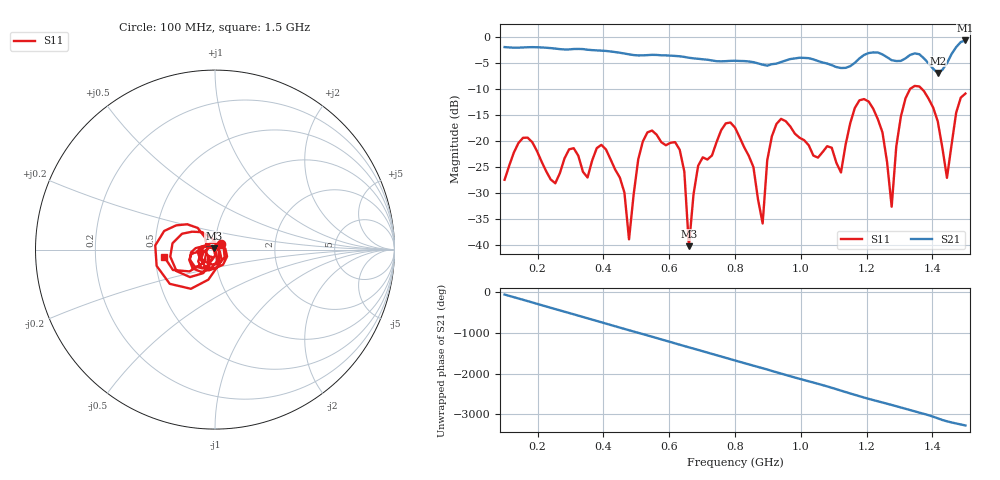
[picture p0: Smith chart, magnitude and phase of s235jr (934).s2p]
! NanoVNA-App
! Date: 2025-09-25 15:11:26
! Start: 100MHz Stop: 1,5GHz Points: 101
! S-Parameter data: F S11 S21 S12 S22
# Hz S RI R 50
!  Frequency  S11_Real  S11_Imag  S21_Real  S21_Imag  S12_Real  S12_Imag  S22_Real  S22_Imag
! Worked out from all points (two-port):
!   101 points, 100 MHz to 1.5 GHz, reference 50 ohm
!   highest |S21| = -0.69 dB at 1.5 GHz (marker M1); lowest = -6.9 dB at 1.416 GHz (marker M2)
!   |S21| within 3 dB of the highest: start of sweep to 623.4 MHz; 1.188 GHz to 1.256 GHz (68.71 MHz wide, 5.62 % of centre) (the widest 2 of 4)
!   lowest |S11| = -40.2 dB at 660 MHz (marker M3), VSWR 1.02, Z = 49.3 + j0.615 ohm
!   |S11| at or under -10 dB: start of sweep to 1.332 GHz; 1.367 GHz to end of sweep
!   S12 and S22 are empty: the file has one direction only
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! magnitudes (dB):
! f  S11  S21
! 100 MHz  -27.5  -2.0
! 156 MHz  -19.4  -2.0
! 338 MHz  -25.9  -2.3
! 408 MHz  -21.6  -2.7
! 478 MHz  -38.9  -3.4
! 520 MHz  -20.1  -3.6
! 576 MHz  -20.2  -3.5
! 632 MHz  -21.7  -3.7
! 660 MHz  -40.2  -4.0
! 688 MHz  -24.8  -4.2
! 800 MHz  -17.4  -4.6
! 884 MHz  -35.9  -5.4
! 926 MHz  -16.7  -5.2
! 1.038 GHz  -22.8  -4.3
! 1.122 GHz  -26.1  -6.0
! 1.206 GHz  -12.4  -3.1
! 1.248 GHz  -18.4  -3.4
! 1.276 GHz  -32.7  -4.5
! 1.332 GHz  -10.0  -3.5
! 1.416 GHz  -16.2  -6.9
! 1.444 GHz  -27.1  -5.1
! 1.5 GHz  -10.9  -0.7
